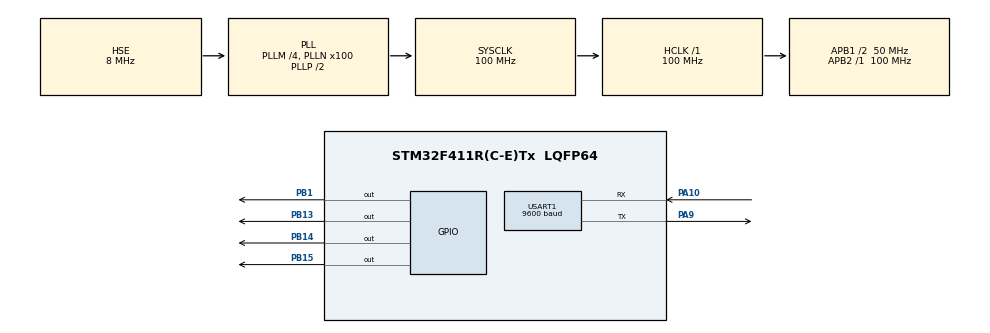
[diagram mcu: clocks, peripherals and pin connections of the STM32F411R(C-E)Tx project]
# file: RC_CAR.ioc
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Dma.Request0=USART1_RX
Dma.USART1_RX.0.Direction=DMA_PERIPH_TO_MEMORY
Dma.USART1_RX.0.FIFOMode=DMA_FIFOMODE_DISABLE
Dma.USART1_RX.0.Instance=DMA2_Stream2
Dma.USART1_RX.0.MemDataAlignment=DMA_MDATAALIGN_BYTE
Dma.USART1_RX.0.MemInc=DMA_MINC_ENABLE
Dma.USART1_RX.0.Mode=DMA_NORMAL
Dma.USART1_RX.0.PeriphDataAlignment=DMA_PDATAALIGN_BYTE
Dma.USART1_RX.0.PeriphInc=DMA_PINC_DISABLE
Dma.USART1_RX.0.Priority=DMA_PRIORITY_LOW
Mcu.Family=STM32F4
Mcu.Name=STM32F411R(C-E)Tx
Mcu.Package=LQFP64
NVIC.DMA2_Stream2_IRQn=true\:0\:0\:false\:false\:true\:false\:true\:true
NVIC.PriorityGroup=NVIC_PRIORITYGROUP_4
PA10.Mode=Asynchronous
PA10.Signal=USART1_RX
PA13.Mode=Serial_Wire
PA13.Signal=SYS_JTMS-SWDIO
PA14.Mode=Serial_Wire
PA14.Signal=SYS_JTCK-SWCLK
PA9.Mode=Asynchronous
PA9.Signal=USART1_TX
PB1.Signal=GPIO_Output
PB13.Signal=GPIO_Output
PB14.Signal=GPIO_Output
PB15.Signal=GPIO_Output
PH0\ -\ OSC_IN.Mode=HSE-External-Oscillator
PH0\ -\ OSC_IN.Signal=RCC_OSC_IN
PH1\ -\ OSC_OUT.Mode=HSE-External-Oscillator
PH1\ -\ OSC_OUT.Signal=RCC_OSC_OUT
ProjectManager.HeapSize=0x200
ProjectManager.StackSize=0x400
ProjectManager.TargetToolchain=STM32CubeIDE
RCC.48MHZClocksFreq_Value=50000000
RCC.AHBFreq_Value=100000000
RCC.APB1CLKDivider=RCC_HCLK_DIV2
RCC.APB1Freq_Value=50000000
RCC.APB1TimFreq_Value=100000000
RCC.APB2Freq_Value=100000000
RCC.APB2TimFreq_Value=100000000
RCC.CortexFreq_Value=100000000
RCC.HCLKFreq_Value=100000000
RCC.HSE_VALUE=8000000
RCC.HSI_VALUE=16000000
RCC.LSE_VALUE=32768
RCC.PLLM=4
RCC.PLLN=100
RCC.PLLSourceVirtual=RCC_PLLSOURCE_HSE
RCC.SYSCLKFreq_VALUE=100000000
RCC.SYSCLKSource=RCC_SYSCLKSOURCE_PLLCLK
RCC.VCOOutputFreq_Value=200000000
USART1.BaudRate=9600
USART1.VirtualMode=VM_ASYNC
board=custom

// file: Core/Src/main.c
/* USER CODE BEGIN Header */
/**
  ******************************************************************************
  * @file           : main.c
  * @brief          : Main program body
  ******************************************************************************
  * @attention
  *
  * Copyright (c) 2025 STMicroelectronics.
  * All rights reserved.
  *
  * This software is licensed under terms that can be found in the LICENSE file
  * in the root directory of this software component.
  * If no LICENSE file comes with this software, it is provided AS-IS.
  *
  ******************************************************************************
  */
/* USER CODE END Header */
#include "main.h"
#include "dma.h"
#include "usart.h"
#include "gpio.h"

/* USER CODE BEGIN PD */
//#define IN1_Pin GPIO_PIN_13
//#define IN1_GPIO_Port GPIOB
//
//#define IN2_Pin GPIO_PIN_14
//#define IN2_GPIO_Port GPIOB
//
//#define IN3_Pin GPIO_PIN_15
//#define IN3_GPIO_Port GPIOB
//
//#define IN4_Pin GPIO_PIN_1
//#define IN4_GPIO_Port GPIOB

/* USER CODE END PD */

/* USER CODE BEGIN PV */
uint8_t rxData;      // 수신 문자 1바이트 저장

/* USER CODE END PV */

void SystemClock_Config(void);
/* USER CODE BEGIN PFP */

// === UART 수신 콜백 ===
void HAL_UART_RxCpltCallback(UART_HandleTypeDef *huart)
{
    // UART1 (휴대폰)에서 수신된 경우
    if(huart->Instance == USART1)       //USART1 과 연결된 블루투스 의 들어올시 동작
    {

        //자동차 제어
        if(rxData == 'S')       //자동차 정지
        {
              HAL_GPIO_WritePin(GPIOB, GPIO_PIN_13, GPIO_PIN_SET);       //IN1, 1
              HAL_GPIO_WritePin(GPIOB, GPIO_PIN_14, GPIO_PIN_SET);       //IN2, 1
              HAL_GPIO_WritePin(GPIOB, GPIO_PIN_15, GPIO_PIN_SET);       //IN3, 1
              HAL_GPIO_WritePin(GPIOB, GPIO_PIN_1, GPIO_PIN_SET);        //IN4, 1
        }
        else if(rxData == 'B')  //자동차 후진
        {
               HAL_GPIO_WritePin(GPIOB, GPIO_PIN_13, GPIO_PIN_SET);       //IN1, 1
               HAL_GPIO_WritePin(GPIOB, GPIO_PIN_14, GPIO_PIN_RESET);     //IN2, 0
               HAL_GPIO_WritePin(GPIOB, GPIO_PIN_15, GPIO_PIN_SET);       //IN3, 1
               HAL_GPIO_WritePin(GPIOB, GPIO_PIN_1, GPIO_PIN_RESET);      //IN4, 0
        }
        else if(rxData == 'F')  //자동차 전진
        {
               HAL_GPIO_WritePin(GPIOB, GPIO_PIN_13, GPIO_PIN_RESET);   //IN1, 0
               HAL_GPIO_WritePin(GPIOB, GPIO_PIN_14, GPIO_PIN_SET);     //IN2, 1
               HAL_GPIO_WritePin(GPIOB, GPIO_PIN_15, GPIO_PIN_RESET);   //IN3, 0
               HAL_GPIO_WritePin(GPIOB, GPIO_PIN_1, GPIO_PIN_SET);      //IN4, 1
        }
        else if(rxData == 'R')  //자동차 우회전
        {
               HAL_GPIO_WritePin(GPIOB, GPIO_PIN_13,GPIO_PIN_RESET );    //IN1, 0
               HAL_GPIO_WritePin(GPIOB, GPIO_PIN_14,GPIO_PIN_SET);       //IN2, 1
               HAL_GPIO_WritePin(GPIOB, GPIO_PIN_15,GPIO_PIN_SET);       //IN3, 1
               HAL_GPIO_WritePin(GPIOB, GPIO_PIN_1, GPIO_PIN_RESET);     //IN4, 0

        }
        else if(rxData == 'L')  // 자동차 좌회전
        {
               HAL_GPIO_WritePin(GPIOB, GPIO_PIN_13, GPIO_PIN_SET);       //IN1, 1
               HAL_GPIO_WritePin(GPIOB, GPIO_PIN_14, GPIO_PIN_RESET);     //IN2, 0
               HAL_GPIO_WritePin(GPIOB, GPIO_PIN_15, GPIO_PIN_RESET);     //IN3, 0
               HAL_GPIO_WritePin(GPIOB, GPIO_PIN_1, GPIO_PIN_SET);        //IN4, 1
        }

        // 다음 데이터 수신 준비 (DMA)
        HAL_UART_Receive_DMA(&huart1, &rxData, 1);
    }
}

/* USER CODE END PFP */

int main(void)
{

  /* MCU Configuration--------------------------------------------------------*/

  /* Reset of all peripherals, Initializes the Flash interface and the Systick. */
  HAL_Init();

  /* Configure the system clock */
  SystemClock_Config();

  /* Initialize all configured peripherals */
  MX_GPIO_Init();
  MX_DMA_Init();
  MX_USART1_UART_Init();
  /* USER CODE BEGIN 2 */

  // PWM 시작 (속도 제어)

    HAL_UART_Receive_DMA(&huart1, &rxData, 1);  // 휴대폰에서 DMA 방식으로 수신

    char msg[] = "AT+NAMEswp\r\n";
    HAL_UART_Transmit(&huart1, msg, sizeof(msg)  , HAL_MAX_DELAY);

  /* USER CODE END 2 */

  /* Infinite loop */
  while (1)
  {

  }
}

void SystemClock_Config(void)
{
  RCC_OscInitTypeDef RCC_OscInitStruct = {0};
  RCC_ClkInitTypeDef RCC_ClkInitStruct = {0};

  /** Configure the main internal regulator output voltage
  */
  __HAL_RCC_PWR_CLK_ENABLE();
  __HAL_PWR_VOLTAGESCALING_CONFIG(PWR_REGULATOR_VOLTAGE_SCALE1);

  /** Initializes the RCC Oscillators according to the specified parameters
  * in the RCC_OscInitTypeDef structure.
  */
  RCC_OscInitStruct.OscillatorType = RCC_OSCILLATORTYPE_HSE;
  RCC_OscInitStruct.HSEState = RCC_HSE_ON;
  RCC_OscInitStruct.PLL.PLLState = RCC_PLL_ON;
  RCC_OscInitStruct.PLL.PLLSource = RCC_PLLSOURCE_HSE;
  RCC_OscInitStruct.PLL.PLLM = 4;
  RCC_OscInitStruct.PLL.PLLN = 100;
  RCC_OscInitStruct.PLL.PLLP = RCC_PLLP_DIV2;
  RCC_OscInitStruct.PLL.PLLQ = 4;
  if (HAL_RCC_OscConfig(&RCC_OscInitStruct) != HAL_OK)
  {
    Error_Handler();
  }

  /** Initializes the CPU, AHB and APB buses clocks
  */
  RCC_ClkInitStruct.ClockType = RCC_CLOCKTYPE_HCLK|RCC_CLOCKTYPE_SYSCLK
                              |RCC_CLOCKTYPE_PCLK1|RCC_CLOCKTYPE_PCLK2;
  RCC_ClkInitStruct.SYSCLKSource = RCC_SYSCLKSOURCE_PLLCLK;
  RCC_ClkInitStruct.AHBCLKDivider = RCC_SYSCLK_DIV1;
  RCC_ClkInitStruct.APB1CLKDivider = RCC_HCLK_DIV2;
  RCC_ClkInitStruct.APB2CLKDivider = RCC_HCLK_DIV1;

  if (HAL_RCC_ClockConfig(&RCC_ClkInitStruct, FLASH_LATENCY_3) != HAL_OK)
  {
    Error_Handler();
  }
}

void Error_Handler(void)
{
  __disable_irq();
  while (1)
  {
  }
}
